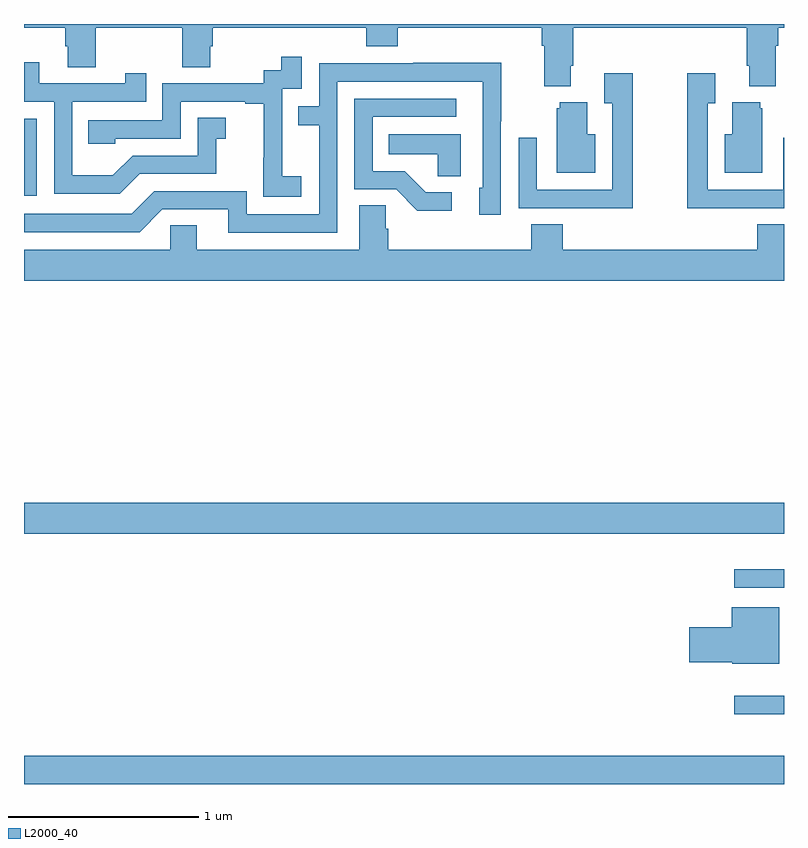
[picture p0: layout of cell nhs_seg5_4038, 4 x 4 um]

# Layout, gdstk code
import gdstk
lib = gdstk.Library(unit=1e-6, precision=1e-09)
def R(c, l, rs):  # rectangles x0, y0, x1, y1
    for r in rs: c.add(gdstk.rectangle(r[:2], r[2:], *l))
def P(c, l, *ps):  # polygons
    for p in ps: c.add(gdstk.Polygon(p, *l))
L2000_40 = (2000, 40)

nhs_seg5_4038 = lib.new_cell('nhs_seg5_4038')
R(nhs_seg5_4038, L2000_40, [(349,832.799,353,832.948), (349,834.116,353,834.28), (349,835.896,349.068,836.301)])
P(nhs_seg5_4038, L2000_40, [(351.877,836.578),(351.89,836.578),(351.89,836.78),(352.805,836.78),(352.805,836.578),(352.817,836.578),(352.817,836.471),(352.957,836.471),(352.957,836.684),(352.97,836.684),(352.97,836.78),(353,836.78),(353,836.799),(349,836.799),(349,836.78),(349.217,836.78),(349.217,836.682),(349.229,836.682),(349.229,836.572),(349.377,836.572),(349.377,836.78),(349.834,836.78),(349.834,836.572),(349.981,836.572),(349.981,836.682),(349.994,836.682),(349.994,836.78),(350.801,836.78),(350.801,836.681),(350.966,836.681),(350.966,836.78),(351.725,836.78),(351.725,836.684),(351.737,836.684),(351.737,836.471),(351.877,836.471)],
  [(350.458,835.999),(350.36,835.999),(350.36,836.228),(350.358,836.228),(350.358,836.457),(350.463,836.457),(350.463,836.626),(350.355,836.626),(350.355,836.556),(350.262,836.556),(350.262,836.487),(349.728,836.487),(349.728,836.292),(349.339,836.292),(349.339,836.169),(349.479,836.169),(349.479,836.196),(349.824,836.196),(349.824,836.391),(350.165,836.391),(350.165,836.379),(350.261,836.379),(350.261,836.095),(350.26,836.095),(350.26,835.889),(350.458,835.889)],
  [(349.609,836.01),(350.013,836.01),(350.013,836.195),(350.062,836.195),(350.062,836.305),(349.914,836.305),(349.914,836.106),(349.572,836.106),(349.468,836.002),(349.254,836.002),(349.254,836.391),(349.643,836.391),(349.643,836.539),(349.532,836.539),(349.532,836.487),(349.081,836.487),(349.081,836.599),(349,836.599),(349,836.391),(349.158,836.391),(349.158,835.905),(349.504,835.905)],
  [(350.649,836.496),(351.414,836.496),(351.414,835.938),(351.395,835.938),(351.395,835.794),(351.51,835.794),(351.51,836.287),(351.513,836.287),(351.513,836.594),(351.049,836.594),(351.049,836.592),(350.553,836.592),(350.553,836.367),(350.443,836.367),(350.443,836.266),(350.553,836.266),(350.553,835.797),(350.172,835.797),(350.172,835.92),(349.686,835.92),(349.566,835.8),(349,835.8),(349,835.704),(349.608,835.704),(349.728,835.824),(350.075,835.824),(350.075,835.701),(350.649,835.701)],
  [(352.204,836.539),(352.055,836.539),(352.055,836.383),(352.095,836.383),(352.095,835.926),(351.699,835.926),(351.699,836.2),(351.603,836.2),(351.603,835.83),(351.919,835.83),(351.919,835.829),(352.204,835.829)],
  [(352.775,835.83),(353,835.83),(353,836.2),(352.995,836.2),(352.995,835.926),(352.599,835.926),(352.599,836.383),(352.639,836.383),(352.639,836.539),(352.491,836.539),(352.491,835.829),(352.775,835.829)],
  [(351.25,835.914),(351.115,835.914),(351.004,836.025),(350.835,836.025),(350.835,836.31),(351.274,836.31),(351.274,836.406),(350.739,836.406),(350.739,835.929),(350.958,835.929),(351.071,835.817),(351.25,835.817)],
  [(352.006,836.218),(351.964,836.218),(351.964,836.386),(351.821,836.386),(351.821,836.355),(351.803,836.355),(351.803,836.015),(352.006,836.015)],
  [(352.885,836.355),(352.874,836.355),(352.874,836.386),(352.727,836.386),(352.727,836.218),(352.688,836.218),(352.688,836.015),(352.885,836.015)],
  [(351.298,836.218),(350.92,836.218),(350.92,836.114),(351.177,836.114),(351.177,835.999),(351.298,835.999)],
  [(353,835.745),(352.859,835.745),(352.859,835.612),(351.836,835.612),(351.836,835.745),(351.671,835.745),(351.671,835.612),(350.918,835.612),(350.918,835.721),(350.904,835.721),(350.904,835.844),(350.765,835.844),(350.765,835.612),(349.909,835.612),(349.909,835.739),(349.77,835.739),(349.77,835.612),(349,835.612),(349,835.448),(353,835.448)],
  [(353,833.928),(352.983,833.928),(352.983,833.93),(352.737,833.93),(352.737,833.832),(353,833.832)],
  [(352.975,833.728),(352.724,833.728),(352.724,833.624),(352.5,833.624),(352.5,833.441),(352.728,833.441),(352.728,833.432),(352.975,833.432)],
  [(352.949,833.166),(353,833.166),(353,833.263),(352.737,833.263),(352.737,833.165),(352.949,833.165)])

lib.write_gds('nhs_seg5_4038.gds')
